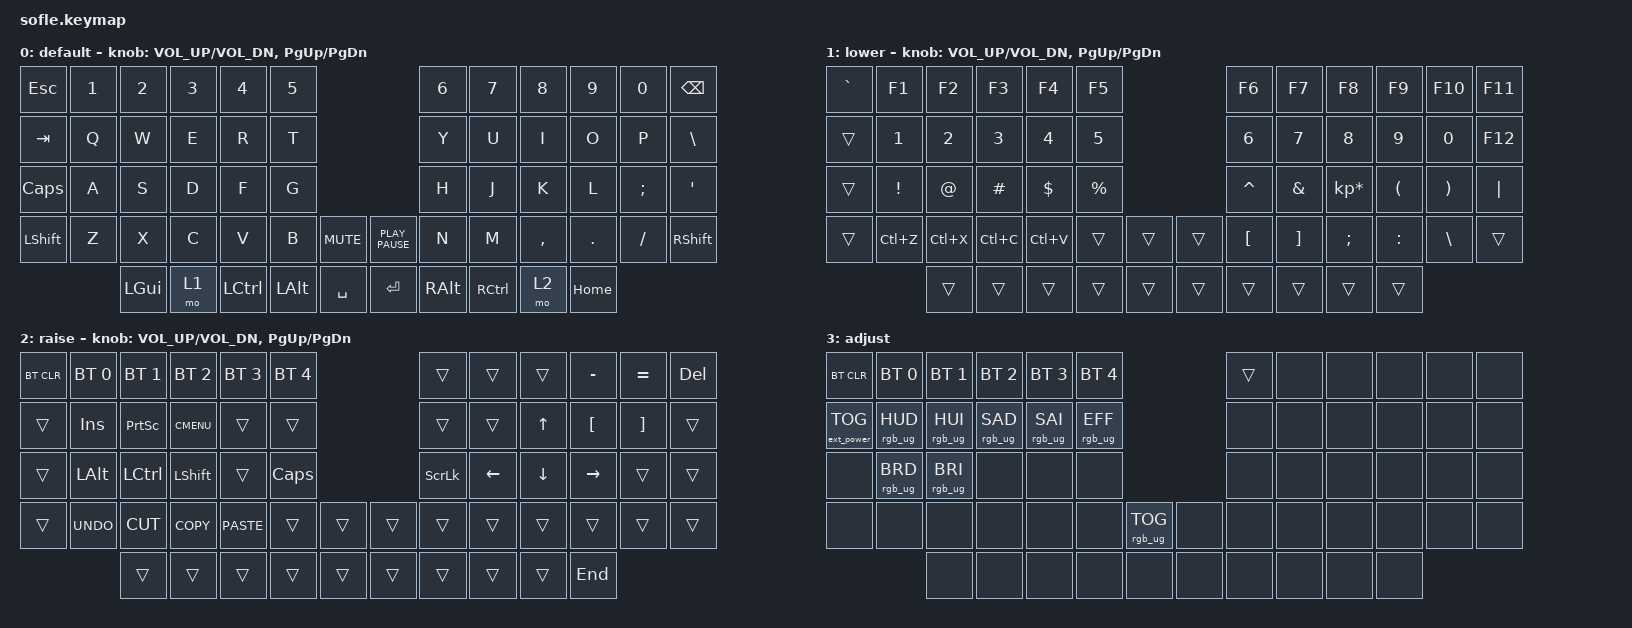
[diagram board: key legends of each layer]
/*
 * Copyright (c) 2020 The ZMK Contributors
 *
 * SPDX-License-Identifier: MIT
 */

#include <behaviors.dtsi>
#include <dt-bindings/zmk/bt.h>
#include <dt-bindings/zmk/ext_power.h>
#include <dt-bindings/zmk/keys.h>
#include <dt-bindings/zmk/rgb.h>

#define BASE 0
#define LOWER 1
#define RAISE 2
#define ADJUST 3

/ {
    // Activate ADJUST layer by pressing raise and lower

    conditional_layers {
        compatible = "zmk,conditional-layers";

        adjust_layer {
            if-layers = <LOWER RAISE>;
            then-layer = <ADJUST>;
        };
    };

    keymap {
        compatible = "zmk,keymap";

        default_layer {
            label = "default";

            // ------------------------------------------------------------------------------------------------------------
            // |   `   |  1  |  2  |  3   |  4   |  5   |                   |  6   |  7    |  8    |  9   |   0   |       |
            // |  ESC  |  Q  |  W  |  E   |  R   |  T   |                   |  Y   |  U    |  I    |  O   |   P   | BKSPC |
            // |  TAB  |  A  |  S  |  D   |  F   |  G   |                   |  H   |  J    |  K    |  L   |   ;   |   '   |
            // | SHIFT |  Z  |  X  |  C   |  V   |  B   |  MUTE  |  |       |  N   |  M    |  ,    |  .   |   /   | SHIFT |
            //               | GUI | ALT  | CTRL | LOWER|  ENTER |  | SPACE | RAISE| CTRL  | ALT   | GUI  |

            bindings = <
&kp ESC    &kp N1  &kp N2    &kp N3  &kp N4     &kp N5                                        &kp N6         &kp N7     &kp N8     &kp N9    &kp N0    &kp BACKSPACE
&kp TAB    &kp Q   &kp W     &kp E   &kp R      &kp T                                         &kp Y          &kp U      &kp I      &kp O     &kp P     &kp BACKSLASH
&kp CAPS   &kp A   &kp S     &kp D   &kp F      &kp G                                         &kp H          &kp J      &kp K      &kp L     &kp SEMI  &kp SINGLE_QUOTE
&kp LSHFT  &kp Z   &kp X     &kp C   &kp V      &kp B         &kp C_MUTE    &kp K_PLAY_PAUSE  &kp N          &kp M      &kp COMMA  &kp DOT   &kp FSLH  &kp RSHFT
                   &kp LGUI  &mo 1   &kp LCTRL  &kp LEFT_ALT  &kp SPACE     &kp ENTER         &kp RIGHT_ALT  &kp RCTRL  &mo 2      &kp HOME
            >;

            sensor-bindings = <&inc_dec_kp C_VOL_UP C_VOL_DN &inc_dec_kp PG_UP PG_DN>;
        };

        lower_layer {
            label = "lower";

            // TODO: Some binds are waiting for shifted keycode support.
            // ------------------------------------------------------------------------------------------------------------
            // |       |  F1 |  F2 |  F3  |  F4  |  F5  |                   |  F6  |  F7   |  F8   |  F9  |  F10  |  F11  |
            // |   `   |  1  |  2  |  3   |  4   |  5   |                   |  6   |  7    |  8    |  9   |   0   |  F12  |
            // |       |  !  |  @  |  #   |  $   |  %   |                   |  ^   |  &    |  *    |  (   |   )   |   |   |
            // |       |  =  |  -  |  +   |  {   |  }   |        |  |       |  [   |  ]    |  ;    |  :   |   \   |       |
            //               |     |      |      |      |        |  |       |      |       |       |      |

            bindings = <
&kp GRAVE  &kp F1     &kp F2     &kp F3     &kp F4     &kp F5                       &kp F6     &kp F7    &kp F8           &kp F9     &kp F10   &kp F11
&trans     &kp N1     &kp N2     &kp N3     &kp N4     &kp N5                       &kp N6     &kp N7    &kp N8           &kp N9     &kp N0    &kp F12
&trans     &kp EXCL   &kp AT     &kp HASH   &kp DLLR   &kp PRCNT                    &kp CARET  &kp AMPS  &kp KP_MULTIPLY  &kp LPAR   &kp RPAR  &kp PIPE
&trans     &kp LC(Z)  &kp LC(X)  &kp LC(C)  &kp LC(V)  &trans     &trans    &trans  &kp LBKT   &kp RBKT  &kp SEMI         &kp COLON  &kp BSLH  &trans
                      &trans     &trans     &trans     &trans     &trans    &trans  &trans     &trans    &trans           &trans
            >;

            sensor-bindings = <&inc_dec_kp C_VOL_UP C_VOL_DN &inc_dec_kp PG_UP PG_DN>;
        };

        raise_layer {
            label = "raise";

            // ------------------------------------------------------------------------------------------------------------
            // | BTCLR | BT1  | BT2  |  BT3  |  BT4  |  BT5 |                |      |      |       |      |       |       |
            // |       | INS  | PSCR | GUI   |       |      |                | PGUP |      |   ^   |      |       |       |
            // |       | ALT  | CTRL | SHIFT |       | CAPS |                | PGDN |   <- |   v   |  ->  |  DEL  | BKSPC |
            // |       | UNDO | CUT  | COPY  | PASTE |      |      |  |      |      |      |       |      |       |       |
            //                |      |       |       |      |      |  |      |      |      |       |      |

            bindings = <
&bt BT_CLR  &bt BT_SEL 0  &bt BT_SEL 1  &bt BT_SEL 2  &bt BT_SEL 3  &bt BT_SEL 4                    &trans          &trans    &trans    &kp MINUS         &kp EQUAL          &kp DEL
&trans      &kp INS       &kp PSCRN     &kp K_CMENU   &trans        &trans                          &trans          &trans    &kp UP    &kp LEFT_BRACKET  &kp RIGHT_BRACKET  &trans
&trans      &kp LALT      &kp LCTRL     &kp LSHFT     &trans        &kp CLCK                        &kp SCROLLLOCK  &kp LEFT  &kp DOWN  &kp RIGHT         &trans             &trans
&trans      &kp K_UNDO    &kp K_CUT     &kp K_COPY    &kp K_PASTE   &trans        &trans    &trans  &trans          &trans    &trans    &trans            &trans             &trans
                          &trans        &trans        &trans        &trans        &trans    &trans  &trans          &trans    &trans    &kp END
            >;

            sensor-bindings = <&inc_dec_kp C_VOL_UP C_VOL_DN &inc_dec_kp PG_UP PG_DN>;
        };

        adjust_layer {
            // ----------------------------------------------------------------------------------------------------------------------------
            // | BTCLR  |  BT1    |  BT2    |   BT3   |   BT4   |   BT5   |                  |      |      |       |      |       |       |
            // | EXTPWR | RGB_HUD | RGB_HUI | RGB_SAD | RGB_SAI | RGB_EFF |                  |      |      |       |      |       |       |
            // |        | RGB_BRD | RGB_BRI |         |         |         |                  |      |      |       |      |       |       |
            // |        |         |         |         |         |         | RGB_TOG | |      |      |      |       |      |       |       |
            //                    |         |         |         |         |         | |      |      |      |       |      |

            label = "adjust";
            bindings = <
&bt BT_CLR         &bt BT_SEL 0     &bt BT_SEL 1     &bt BT_SEL 2     &bt BT_SEL 3     &bt BT_SEL 4                               &trans  &none  &none  &none  &none  &none
&ext_power EP_TOG  &rgb_ug RGB_HUD  &rgb_ug RGB_HUI  &rgb_ug RGB_SAD  &rgb_ug RGB_SAI  &rgb_ug RGB_EFF                            &none   &none  &none  &none  &none  &none
&none              &rgb_ug RGB_BRD  &rgb_ug RGB_BRI  &none            &none            &none                                      &none   &none  &none  &none  &none  &none
&none              &none            &none            &none            &none            &none            &rgb_ug RGB_TOG    &none  &none   &none  &none  &none  &none  &none
                                    &none            &none            &none            &none            &none              &none  &none   &none  &none  &none
            >;
        };
    };
};
